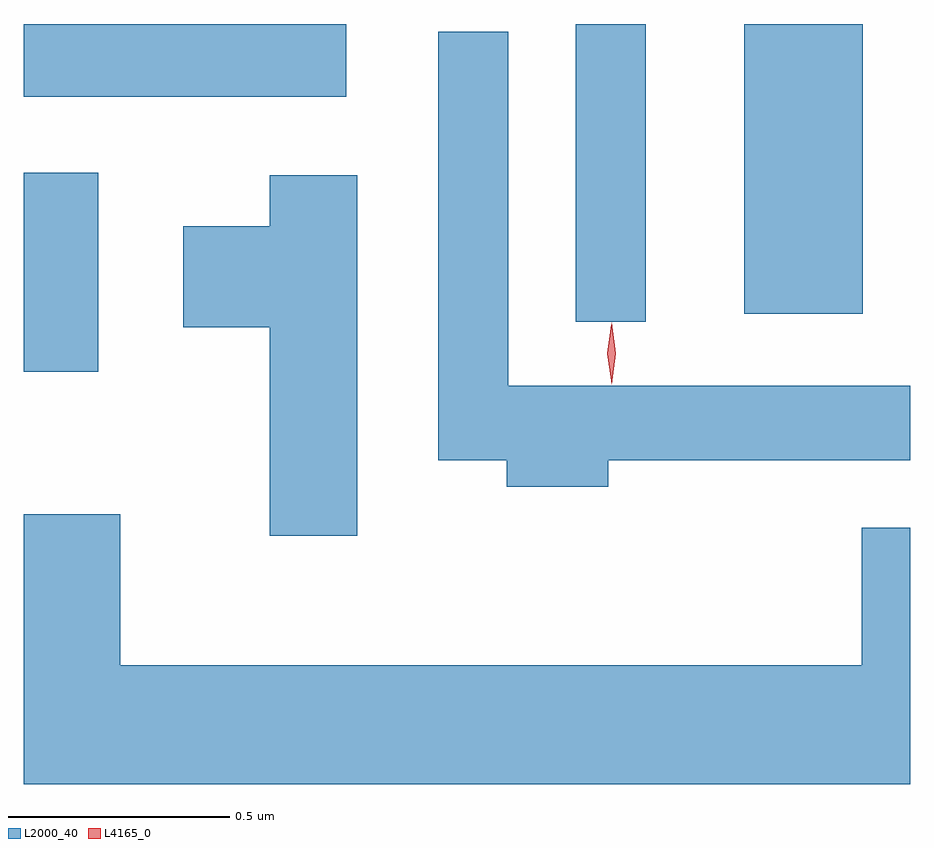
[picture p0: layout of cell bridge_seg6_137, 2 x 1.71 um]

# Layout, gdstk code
import gdstk
lib = gdstk.Library(unit=1e-6, precision=1e-09)
def R(c, l, rs):  # rectangles x0, y0, x1, y1
    for r in rs: c.add(gdstk.rectangle(r[:2], r[2:], *l))
def P(c, l, *ps):  # polygons
    for p in ps: c.add(gdstk.Polygon(p, *l))
L2000_40 = (2000, 40)
L4165_0 = (4165, 0)

bridge_seg6_137 = lib.new_cell('bridge_seg6_137')
R(bridge_seg6_137, L2000_40, [(1179.331,1628.666,1179.499,1629.114), (1180.576,1628.778,1180.734,1629.45), (1180.956,1628.796,1181.224,1629.45), (1179.331,1629.286,1180.059,1629.45)])
P(bridge_seg6_137, L2000_40, [(1180.649,1628.466),(1181.331,1628.466),(1181.331,1628.634),(1180.424,1628.634),(1180.424,1629.433),(1180.266,1629.433),(1180.266,1628.466),(1180.421,1628.466),(1180.421,1628.406),(1180.649,1628.406)],
  [(1180.084,1629.109),(1179.886,1629.109),(1179.886,1628.994),(1179.691,1628.994),(1179.691,1628.766),(1179.886,1628.766),(1179.886,1628.296),(1180.084,1628.296)],
  [(1181.331,1628.314),(1181.221,1628.314),(1181.221,1628.004),(1179.549,1628.004),(1179.549,1628.344),(1179.331,1628.344),(1179.331,1627.736),(1181.331,1627.736)])
P(bridge_seg6_137, L4165_0, [(1180.657,1628.637),(1180.657,1628.637),(1180.647,1628.707),(1180.657,1628.776),(1180.657,1628.776),(1180.658,1628.776),(1180.667,1628.707),(1180.658,1628.637)],
  [(1180.657,1628.639),(1180.657,1628.64),(1180.647,1628.706),(1180.656,1628.772),(1180.657,1628.773),(1180.658,1628.772),(1180.667,1628.706),(1180.658,1628.64)])

lib.write_gds('bridge_seg6_137.gds')
